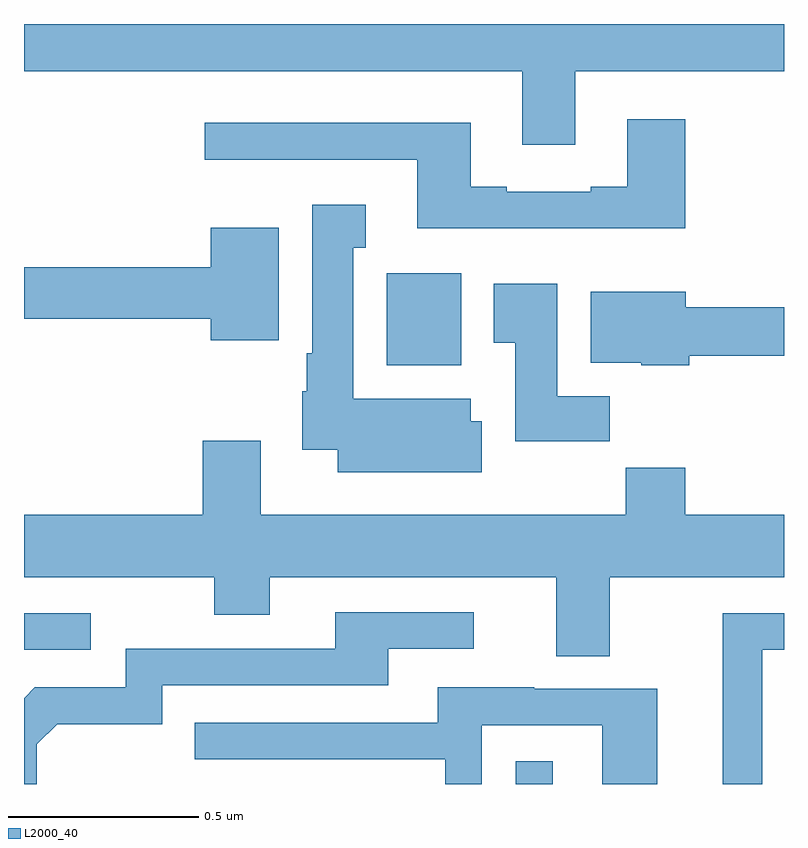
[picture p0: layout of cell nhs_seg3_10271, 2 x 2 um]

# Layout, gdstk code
import gdstk
lib = gdstk.Library(unit=1e-6, precision=1e-09)
def R(c, l, rs):  # rectangles x0, y0, x1, y1
    for r in rs: c.add(gdstk.rectangle(r[:2], r[2:], *l))
def P(c, l, *ps):  # polygons
    for p in ps: c.add(gdstk.Polygon(p, *l))
L2000_40 = (2000, 40)

nhs_seg3_10271 = lib.new_cell('nhs_seg3_10271')
R(nhs_seg3_10271, L2000_40, [(240.294,672.4,240.391,672.46), (239,672.753,239.176,672.849), (239.954,673.502,240.151,673.744)])
P(nhs_seg3_10271, L2000_40, [(240.451,674.276),(241,674.276),(241,674.4),(239,674.4),(239,674.276),(240.311,674.276),(240.311,674.082),(240.451,674.082)],
  [(240.74,674.149),(240.587,674.149),(240.587,673.972),(240.491,673.972),(240.491,673.959),(240.271,673.959),(240.271,673.972),(240.175,673.972),(240.175,674.14),(239.475,674.14),(239.475,674.043),(240.035,674.043),(240.035,673.862),(240.74,673.862)],
  [(240.205,673.355),(240.175,673.355),(240.175,673.414),(239.866,673.414),(239.866,673.811),(239.899,673.811),(239.899,673.924),(239.759,673.924),(239.759,673.534),(239.744,673.534),(239.744,673.434),(239.732,673.434),(239.732,673.28),(239.825,673.28),(239.825,673.22),(240.205,673.22)],
  [(239.671,673.864),(239.492,673.864),(239.492,673.76),(239,673.76),(239,673.624),(239.492,673.624),(239.492,673.568),(239.671,673.568)],
  [(240.542,673.42),(240.403,673.42),(240.403,673.717),(240.236,673.717),(240.236,673.561),(240.293,673.561),(240.293,673.302),(240.542,673.302)],
  [(240.75,673.527),(241,673.527),(241,673.655),(240.742,673.655),(240.742,673.696),(240.491,673.696),(240.491,673.508),(240.624,673.508),(240.624,673.502),(240.75,673.502)],
  [(240.541,672.944),(241,672.944),(241,673.108),(240.74,673.108),(240.74,673.232),(240.583,673.232),(240.583,673.108),(239.623,673.108),(239.623,673.303),(239.471,673.303),(239.471,673.108),(239,673.108),(239,672.944),(239.5,672.944),(239.5,672.845),(239.647,672.845),(239.647,672.944),(240.401,672.944),(240.401,672.736),(240.541,672.736)],
  [(239.034,672.504),(239.087,672.557),(239.364,672.557),(239.364,672.66),(239.959,672.66),(239.959,672.756),(240.184,672.756),(240.184,672.852),(239.819,672.852),(239.819,672.756),(239.268,672.756),(239.268,672.654),(239.028,672.654),(239,672.626),(239,672.4),(239.034,672.4)],
  [(240.943,672.753),(241,672.753),(241,672.849),(240.839,672.849),(240.839,672.4),(240.943,672.4)],
  [(240.204,672.555),(240.522,672.555),(240.522,672.4),(240.667,672.4),(240.667,672.651),(240.343,672.651),(240.343,672.655),(240.089,672.655),(240.089,672.561),(239.449,672.561),(239.449,672.465),(240.108,672.465),(240.108,672.4),(240.204,672.4)])

lib.write_gds('nhs_seg3_10271.gds')
